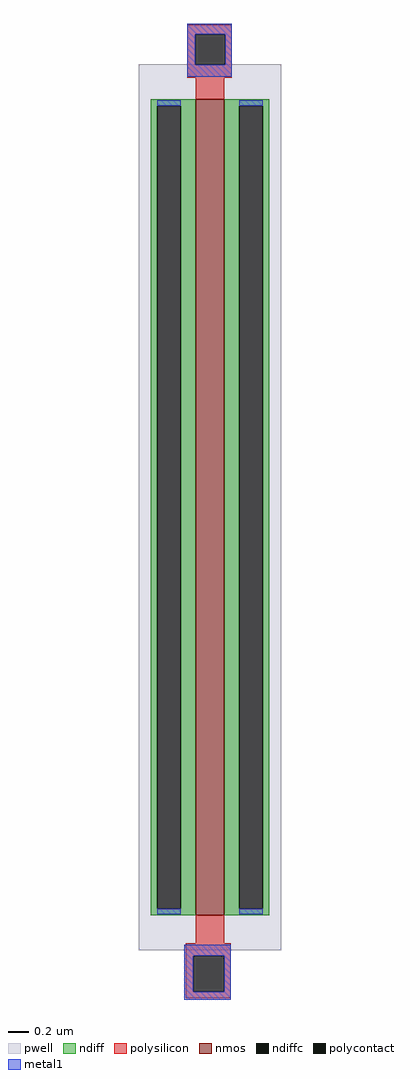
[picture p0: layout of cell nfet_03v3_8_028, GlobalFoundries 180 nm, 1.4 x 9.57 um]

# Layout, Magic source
magic
tech gf180mcuD
magscale 1 10
<< pwell >>
rect 112 10 168 34
<< polysilicon >>
rect 95 1795 183 1814
rect 95 1735 111 1795
rect 170 1735 183 1795
rect 95 1710 183 1735
rect 112 1701 168 1710
rect 112 13 168 34
rect 92 -11 181 13
rect 92 -82 107 -11
rect 168 -82 181 -11
rect 92 -95 181 -82
<< polycontact >>
rect 111 1735 170 1795
rect 107 -82 168 -11
<< metal1 >>
rect 95 1795 183 1816
rect 95 1735 111 1795
rect 170 1735 183 1795
rect 95 1712 183 1735
rect 90 -11 181 10
rect 90 -82 107 -11
rect 168 -82 181 -11
rect 90 -97 181 -82
use nfet_03v3_N7V985  nfet_03v3_N7V985_0
transform 1 0 140 0 1 868
box -140 -868 140 868
<< end >>

# cell nfet_03v3_N7V985: kit device nfet_03v3, w 8 l 0.280 m 1 nf 1 diffcov 100 polycov 100 guard 0 glc 0 grc 0 gtc 0 gbc 0 tbcov 100 rlcov 100 topc 0 botc 0 poverlap 0 doverlap 1 lmin 0.28 wmin 0.22 class mosfet full_metal 0 compatible {nfet_03v3 nfet_06v0 nfet_06v0_nvt}
